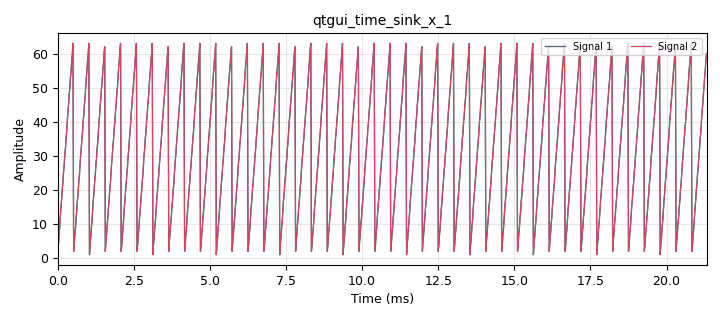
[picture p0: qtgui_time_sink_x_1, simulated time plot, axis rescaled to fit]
options:
  parameters:
    author: mbaer
    generate_options: qt_gui
    id: test_015_scrambler_debugging
    output_language: python
    title: Not titled yet
  states: {}

blocks:
- name: delay_0
  id: variable_qtgui_range
  parameters:
    rangeType: int
    start: '0'
    step: '1'
    stop: '12'
    value: '0'
  states: {}
- name: delay_1
  id: variable_qtgui_range
  parameters:
    rangeType: int
    start: '0'
    step: '1'
    stop: '12'
    value: '0'
  states: {}
- name: quantization
  id: variable_qtgui_chooser
  parameters:
    gui_hint: 1,4,1,2
    label: Quantization
    label0: '2'
    label1: '4'
    label2: '6'
    label3: '8'
    num_opts: '4'
    option0: '2'
    option1: '4'
    option2: '6'
    option3: '8'
    type: int
    value: quantization_init
  states: {}
- name: quantization_init
  id: variable_config
  parameters:
    config_file: test_015.ini
    option: quantization
    section: config
    type: int
    value: '4'
    writeback: quantization
  states: {}
- name: samp_rate
  id: variable
  parameters:
    value: '48000'
  states: {}
- name: analog_sig_source_x_0
  id: analog_sig_source_x
  parameters:
    amp: '255'
    freq: '480'
    offset: '0'
    phase: '0'
    samp_rate: samp_rate
    type: byte
    waveform: analog.GR_SAW_WAVE
  states: {}
- name: blocks_char_to_float_0
  id: blocks_char_to_float
  parameters:
    scale: '1'
  states: {}
- name: blocks_char_to_float_0_0
  id: blocks_char_to_float
  parameters:
    scale: '1'
  states: {}
- name: blocks_char_to_short_0
  id: blocks_char_to_short
  parameters: {}
  states: {}
- name: blocks_char_to_short_0_0
  id: blocks_char_to_short
  parameters: {}
  states: {}
- name: blocks_delay_0
  id: blocks_delay
  parameters:
    delay: delay_1
    type: byte
  states: {}
- name: blocks_delay_0_0
  id: blocks_delay
  parameters:
    delay: delay_0
    type: byte
  states: {}
- name: blocks_pack_k_bits_bb_0
  id: blocks_pack_k_bits_bb
  parameters:
    k: '6'
  states: {}
- name: blocks_pack_k_bits_bb_0_0
  id: blocks_pack_k_bits_bb
  parameters:
    k: '6'
  states: {}
- name: blocks_short_to_float_0
  id: blocks_short_to_float
  parameters:
    scale: '256'
  states: {}
- name: blocks_skiphead_0
  id: blocks_skiphead
  parameters:
    num_items: '8'
    type: byte
  states: {}
- name: blocks_sub_xx_0
  id: blocks_sub_xx
  parameters:
    type: short
  states: {}
- name: blocks_throttle2_0
  id: blocks_throttle2
  parameters:
    samples_per_second: samp_rate
    type: byte
  states: {}
- name: blocks_unpack_k_bits_bb_1_1
  id: blocks_unpack_k_bits_bb
  parameters:
    k: '6'
  states: {}
- name: blocks_unpack_k_bits_bb_1_1_0
  id: blocks_unpack_k_bits_bb
  parameters:
    k: '6'
  states: {}
- name: digital_descrambler_bb_0
  id: digital_descrambler_bb
  parameters:
    len: '7'
    mask: '0x8A'
    seed: '0x7F'
  states: {}
- name: digital_scrambler_bb_0
  id: digital_scrambler_bb
  parameters:
    len: '7'
    mask: '0x8A'
    seed: '0x7F'
  states: {}
- name: qtgui_number_sink_0
  id: qtgui_number_sink
  parameters:
    graph_type: qtgui.NUM_GRAPH_HORIZ
    type: short
  states: {}
- name: qtgui_time_sink_x_0
  id: qtgui_time_sink_x
  parameters:
    size: '1024'
    srate: samp_rate*8
    type: float
  states: {}
- name: qtgui_time_sink_x_1
  id: qtgui_time_sink_x
  parameters:
    nconnections: '2'
    size: '1024'
    srate: samp_rate
    type: float
  states: {}

connections:
- [analog_sig_source_x_0, '0', blocks_throttle2_0, '0']
- [blocks_char_to_float_0, '0', qtgui_time_sink_x_1, '0']
- [blocks_char_to_float_0_0, '0', qtgui_time_sink_x_1, '1']
- [blocks_char_to_short_0, '0', blocks_sub_xx_0, '0']
- [blocks_char_to_short_0, '0', qtgui_number_sink_0, '0']
- [blocks_char_to_short_0_0, '0', blocks_sub_xx_0, '1']
- [blocks_delay_0, '0', blocks_char_to_short_0_0, '0']
- [blocks_delay_0, '0', blocks_pack_k_bits_bb_0_0, '0']
- [blocks_delay_0_0, '0', blocks_char_to_short_0, '0']
- [blocks_delay_0_0, '0', blocks_pack_k_bits_bb_0, '0']
- [blocks_pack_k_bits_bb_0, '0', blocks_char_to_float_0, '0']
- [blocks_pack_k_bits_bb_0_0, '0', blocks_char_to_float_0_0, '0']
- [blocks_short_to_float_0, '0', qtgui_time_sink_x_0, '0']
- [blocks_skiphead_0, '0', blocks_delay_0_0, '0']
- [blocks_sub_xx_0, '0', blocks_short_to_float_0, '0']
- [blocks_throttle2_0, '0', blocks_unpack_k_bits_bb_1_1, '0']
- [blocks_throttle2_0, '0', blocks_unpack_k_bits_bb_1_1_0, '0']
- [blocks_unpack_k_bits_bb_1_1, '0', digital_scrambler_bb_0, '0']
- [blocks_unpack_k_bits_bb_1_1_0, '0', blocks_delay_0, '0']
- [digital_descrambler_bb_0, '0', blocks_skiphead_0, '0']
- [digital_scrambler_bb_0, '0', digital_descrambler_bb_0, '0']

metadata:
  file_format: 1
  grc_version: 3.10.12.0
